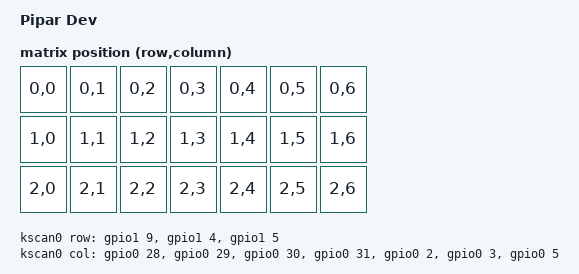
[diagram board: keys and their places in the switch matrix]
/dts-v1/;
#include <nordic/nrf52840_qiaa.dtsi>
#include <common/nordic/nrf52840_uf2_boot_mode.dtsi>

#include <dt-bindings/led/led.h>
#include <dt-bindings/zmk/matrix_transform.h>

#include "pipar_dev-pinctrl.dtsi"
#include "pipar_dev-layouts.dtsi"

&physical_layout0 {
    transform = <&matrix_transform0>;
};

/ {
    model = "Pipar Dev";
    compatible = "piparkeyboards,pipar_dev";

    chosen {
        zephyr,code-partition = &code_partition;
        zephyr,sram = &sram0;
        zephyr,flash = &flash0;
        zmk,kscan = &kscan0;
        zmk,physical-layout = &physical_layout0;
    };

    matrix_transform0: keymap_transform_0 {
        compatible = "zmk,matrix-transform";
        rows = <3>;
        columns = <7>;
        map = <
            RC(0,0) RC(0,1) RC(0,2) RC(0,3) RC(0,4) RC(0,5) RC(0,6)
            RC(1,0) RC(1,1) RC(1,2) RC(1,3) RC(1,4) RC(1,5) RC(1,6)
            RC(2,0) RC(2,1) RC(2,2) RC(2,3) RC(2,4) RC(2,5) RC(2,6)
        >;
    };

    kscan0: kscan {
        compatible = "zmk,kscan-gpio-matrix";
        wakeup-source;

        diode-direction = "col2row";
        col-gpios
            = <&gpio0 28 GPIO_ACTIVE_HIGH>
            , <&gpio0 29 GPIO_ACTIVE_HIGH>
            , <&gpio0 30 GPIO_ACTIVE_HIGH>
            , <&gpio0 31 GPIO_ACTIVE_HIGH>
            , <&gpio0 2  GPIO_ACTIVE_HIGH>
            , <&gpio0 3  GPIO_ACTIVE_HIGH>
            , <&gpio0 5  GPIO_ACTIVE_HIGH>
            ;

        row-gpios
            = <&gpio1 9 (GPIO_ACTIVE_HIGH | GPIO_PULL_DOWN)>
            , <&gpio1 4 (GPIO_ACTIVE_HIGH | GPIO_PULL_DOWN)>
            , <&gpio1 5 (GPIO_ACTIVE_HIGH | GPIO_PULL_DOWN)>
            ;
    };

    leds {
        compatible = "gpio-leds";
        led1: led_1 {
            gpios = <&gpio1 14 GPIO_ACTIVE_HIGH>;
            label = "LED 1";
        };

        led2: led_2 {
            gpios = <&gpio1 12 GPIO_ACTIVE_HIGH>;
            label = "LED 2";
        };
    };
};

&adc {
    status = "okay";
};

&gpiote {
    status = "okay";
};

&gpio0 {
    status = "okay";
};

&gpio1 {
    status = "okay";
};

zephyr_udc0: &usbd {
    status = "okay";
};

&i2c0 {
    compatible = "nordic,nrf-twim";
    status = "okay";
    pinctrl-0 = <&i2c0_default>;
    pinctrl-1 = <&i2c0_sleep>;
    pinctrl-names = "default", "sleep";

    npm1300: pmic@6b {
        compatible = "nordic,npm1300";
        reg = <0x6b>;

        regulators {
            compatible = "nordic,npm1300-regulator";

            buck1: BUCK1 {
                regulator-boot-off;
                status = "disabled";
            };

            buck2: BUCK2 {
                regulator-min-microvolt = <3300000>;
                regulator-max-microvolt = <3300000>;
                regulator-boot-on;
                regulator-always-on;
            };

            ldo1: LDO1 {
                status = "disabled";
            };

            ldo2: LDO2 {
                status = "disabled";
            };
        };

        charger: charger {
            compatible = "nordic,npm1300-charger";
            term-microvolt = <4200000>;
            term-warm-microvolt = <4000000>;
            current-microamp = <500000>;
            term-current-percent = <10>;
            dischg-limit-microamp = <1000000>;
            vbus-limit-microamp = <500000>;
            thermistor-ohms = <0>;
            thermistor-beta = <0>;
            charging-enable;
        };
    };
};

&flash0 {
    /*
     * For more information, see:
     * http://docs.zephyrproject.org/latest/devices/dts/flash_partitions.html
     */
    partitions {
        compatible = "fixed-partitions";
        #address-cells = <1>;
        #size-cells = <1>;

        sd_partition: partition@0 {
            reg = <0x00000000 0x00026000>;
        };
        code_partition: partition@26000 {
            reg = <0x00026000 0x000c6000>;
        };

        storage_partition: partition@ec000 {
            reg = <0x000ec000 0x00008000>;
        };

        boot_partition: partition@f4000 {
            reg = <0x000f4000 0x0000c000>;
        };
    };
};
